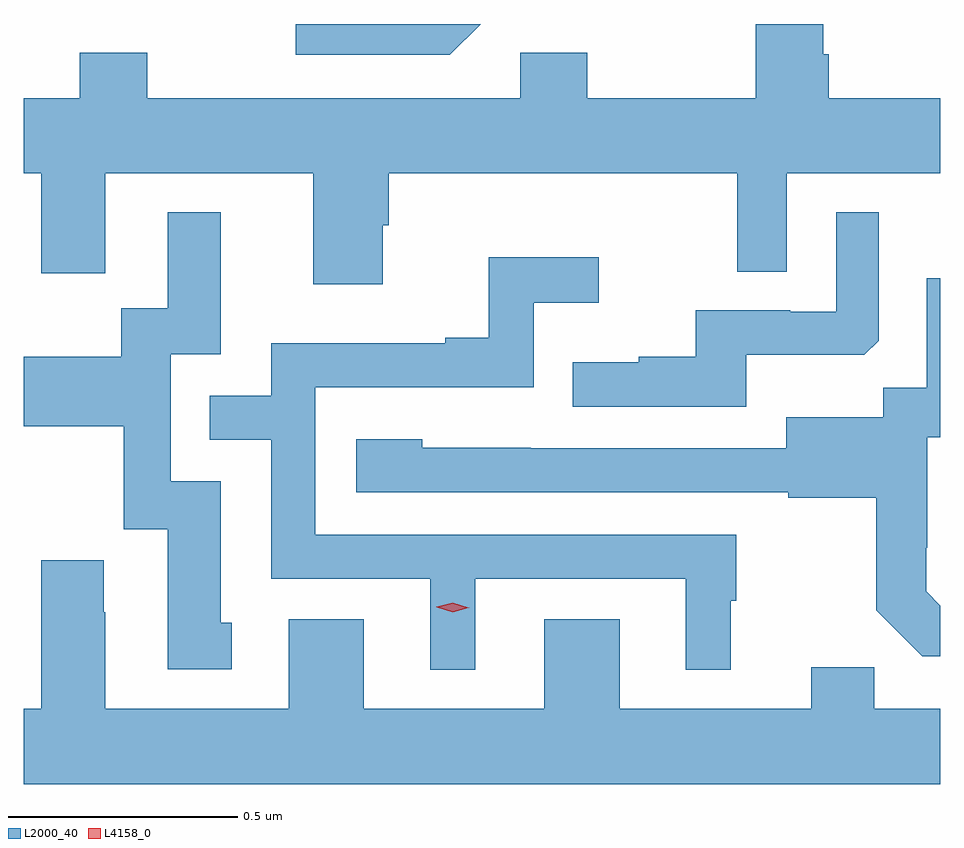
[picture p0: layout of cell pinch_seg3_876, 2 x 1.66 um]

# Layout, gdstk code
import gdstk
lib = gdstk.Library(unit=1e-6, precision=1e-09)
def P(c, l, *ps):  # polygons
    for p in ps: c.add(gdstk.Polygon(p, *l))
L2000_40 = (2000, 40)
L4158_0 = (4158, 0)

pinch_seg3_876 = lib.new_cell('pinch_seg3_876')
P(pinch_seg3_876, L2000_40, [(745.198,683.926),(744.795,683.926),(744.795,683.859),(745.131,683.859)],
  [(744.985,683.487),(744.998,683.487),(744.998,683.6),(745.758,683.6),(745.758,683.386),(745.866,683.386),(745.866,683.6),(746.201,683.6),(746.201,683.764),(745.958,683.764),(745.958,683.86),(745.945,683.86),(745.945,683.926),(745.798,683.926),(745.798,683.764),(745.431,683.764),(745.431,683.863),(745.284,683.863),(745.284,683.764),(744.471,683.764),(744.471,683.863),(744.323,683.863),(744.323,683.764),(744.201,683.764),(744.201,683.6),(744.239,683.6),(744.239,683.382),(744.379,683.382),(744.379,683.6),(744.833,683.6),(744.833,683.358),(744.985,683.358)],
  [(745.777,683.204),(746.035,683.204),(746.067,683.235),(746.067,683.515),(745.974,683.515),(745.974,683.298),(745.874,683.298),(745.874,683.301),(745.667,683.301),(745.667,683.2),(745.543,683.2),(745.543,683.188),(745.399,683.188),(745.399,683.091),(745.777,683.091)],
  [(744.655,682.62),(744.631,682.62),(744.631,682.929),(744.522,682.929),(744.522,683.205),(744.631,683.205),(744.631,683.515),(744.515,683.515),(744.515,683.306),(744.414,683.306),(744.414,683.2),(744.201,683.2),(744.201,683.048),(744.419,683.048),(744.419,682.824),(744.515,682.824),(744.515,682.518),(744.655,682.518)],
  [(745.186,682.716),(745.646,682.716),(745.646,682.517),(745.744,682.517),(745.744,682.668),(745.756,682.668),(745.756,682.812),(744.837,682.812),(744.837,683.133),(745.314,683.133),(745.314,683.318),(745.456,683.318),(745.456,683.417),(745.216,683.417),(745.216,683.242),(745.121,683.242),(745.121,683.229),(744.741,683.229),(744.741,683.115),(744.607,683.115),(744.607,683.019),(744.741,683.019),(744.741,682.716),(745.088,682.716),(745.088,682.517),(745.186,682.517)],
  [(746.201,682.657),(746.17,682.688),(746.17,682.783),(746.172,682.783),(746.172,683.024),(746.201,683.024),(746.201,683.371),(746.171,683.371),(746.171,683.132),(746.076,683.132),(746.076,683.068),(745.865,683.068),(745.865,683.001),(745.307,683.001),(745.307,683.002),(745.071,683.002),(745.071,683.02),(744.927,683.02),(744.927,682.905),(745.869,682.905),(745.869,682.893),(746.061,682.893),(746.061,682.647),(746.161,682.547),(746.201,682.547)],
  [(746.201,682.432),(746.057,682.432),(746.057,682.523),(745.919,682.523),(745.919,682.432),(745.501,682.432),(745.501,682.627),(745.337,682.627),(745.337,682.432),(744.943,682.432),(744.943,682.627),(744.779,682.627),(744.779,682.432),(744.379,682.432),(744.379,682.643),(744.376,682.643),(744.376,682.756),(744.239,682.756),(744.239,682.432),(744.201,682.432),(744.201,682.268),(746.201,682.268)])
P(pinch_seg3_876, L4158_0, [(745.137,682.643),(745.102,682.654),(745.101,682.655),(745.102,682.655),(745.137,682.663),(745.172,682.653),(745.173,682.652),(745.172,682.652)])

lib.write_gds('pinch_seg3_876.gds')
